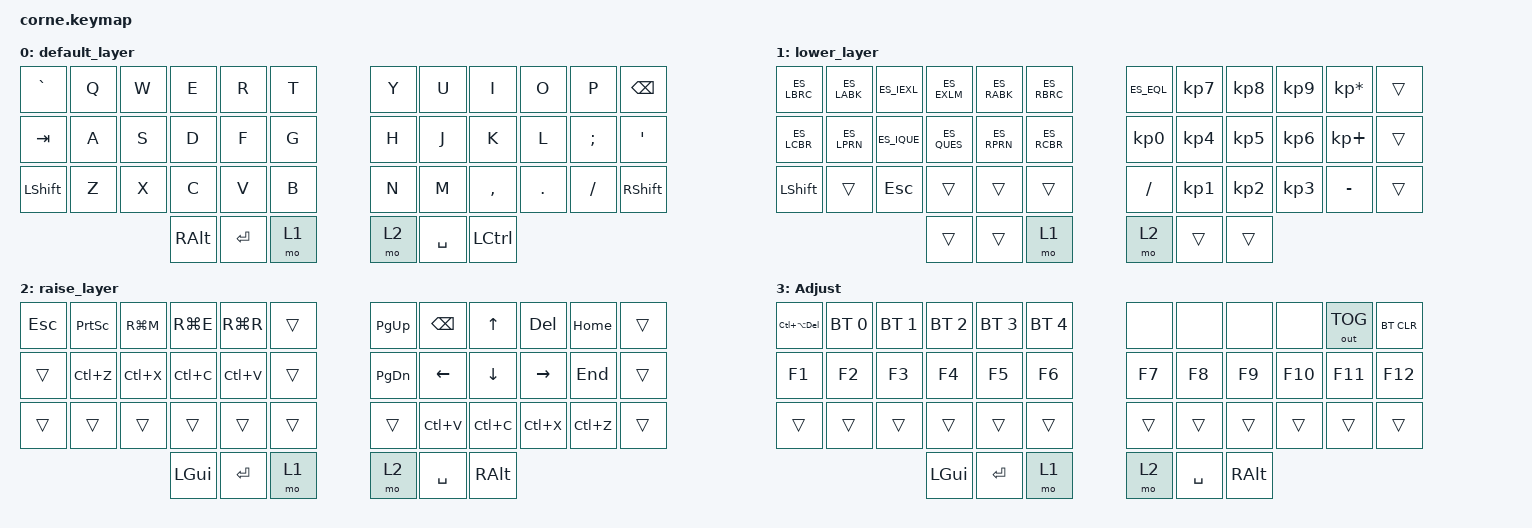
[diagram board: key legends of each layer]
/*
 * Copyright (c) 2020 The ZMK Contributors
 *
 * SPDX-License-Identifier: MIT
 */

#include "keymap_spanish.h"
#include <behaviors.dtsi>
#include <dt-bindings/zmk/bt.h>
#include <dt-bindings/zmk/keys.h>
#include <dt-bindings/zmk/outputs.h>

/ {
    combos {
        compatible = "zmk,combos";

        Caps {
            bindings = <&kp CAPSLOCK>;
            key-positions = <24 35>;
        };

        Soft_off {
            bindings = <&soft_off>;
            key-positions = <11 0 12 23>;
        };
    };

    keymap {
        compatible = "zmk,keymap";

        default_layer {
            // -----------------------------------------------------------------------------------------
            // |  `   |  Q  |  W  |  E  |  R  |  T  |   |  Y  |  U   |  I  |  O  |  P  | BKSP |
            // | TAB  |  A  |  S  |  D  |  F  |  G  |   |  H  |  J   |  K  |  L  |  ;  |  '   |
            // | SHFT |  Z  |  X  |  C  |  V  |  B  |   |  N  |  M   |  ,  |  .  |  /  | SHFT |
            //                    | RALT| ENT | LWR |   | RSE | SPC  | CRTL|

            bindings = <
&kp GRAVE  &kp Q  &kp W  &kp E     &kp R    &kp T    &kp Y  &kp U      &kp I      &kp O    &kp P     &kp BSPC
&kp TAB    &kp A  &kp S  &kp D     &kp F    &kp G    &kp H  &kp J      &kp K      &kp L    &kp SEMI  &kp SQT
&kp LSHFT  &kp Z  &kp X  &kp C     &kp V    &kp B    &kp N  &kp M      &kp COMMA  &kp DOT  &kp FSLH  &kp RSHFT
                         &kp RALT  &kp RET  &mo 1    &mo 2  &kp SPACE  &kp LCTRL
            >;
        };

        lower_layer {
            // -----------------------------------------------------------------------------------------
            // |  [   |  <  |  ¡  |  !  |  >  |  ]  |   |  =  |  7  |  8  |  9  |  *  | BKSP |
            // |  {   |  (  |  ¿  |  ?  |  )  |  }  |   |  0  |  4  |  5  |  6  |  +  |      |
            // | SHFT |     |     | ESC |     |     |   |  /  |  1  |  2  |  3  |  -  |      |
            //                    | RALT| ENT | LWR |   | RSE | SPC  | CRTL|

            bindings = <
&kp ES_LBRC  &kp ES_LABK  &kp ES_IEXL  &kp ES_EXLM  &kp ES_RABK  &kp ES_RBRC    &kp ES_EQL       &kp KP_NUMBER_7  &kp KP_NUMBER_8  &kp KP_NUMBER_9  &kp KP_ASTERISK  &trans
&kp ES_LCBR  &kp ES_LPRN  &kp ES_IQUE  &kp ES_QUES  &kp ES_RPRN  &kp ES_RCBR    &kp KP_NUMBER_0  &kp KP_NUMBER_4  &kp KP_NUMBER_5  &kp KP_NUMBER_6  &kp KP_PLUS      &trans
&kp LSHFT    &trans       &kp ESC      &trans       &trans       &trans         &kp FSLH         &kp KP_NUMBER_1  &kp KP_NUMBER_2  &kp KP_NUMBER_3  &kp MINUS        &trans
                                       &trans       &trans       &mo 1          &mo 2            &trans           &trans
            >;
        };

        raise_layer {
            // -----------------------------------------------------------------------------------------
            // | ESC   | PRTSC |  WIN+M  | WIN+E | WIN+R   |   | |     | PGUP |BCKSPC |   ^   |  DEL |  HOME |       |
            // |       | UNDO  |   CUT   | COPY  | PASTE   |   | |     | PGDN |   <-  |   v   |  ->  |  END  |       |
            // |       |       |         |       |         |   | |     |      | PASTE | COPY  | CUT  |  UNDO |       |
            //                 |  RALT   |  ENT  |   LWR   |           | RSE  | SPC   | CRTL  |

            bindings = <
&kp ESCAPE  &kp PSCRN  &kp RG(M)  &kp RG(E)  &kp RG(R)  &trans    &kp PG_UP  &kp BACKSPACE  &kp UP     &kp DEL    &kp HOME   &trans
&trans      &kp LC(Z)  &kp LC(X)  &kp LC(C)  &kp LC(V)  &trans    &kp PG_DN  &kp LEFT       &kp DOWN   &kp RIGHT  &kp END    &trans
&trans      &trans     &trans     &trans     &trans     &trans    &trans     &kp LC(V)      &kp LC(C)  &kp LC(X)  &kp LC(Z)  &trans
                                  &kp LGUI   &kp RET    &mo 1     &mo 2      &kp SPACE      &kp RALT
            >;
        };

        Adjust {
            // -----------------------------------------------------------------------------------------
            // | CAPSUP | BT1  | BT2 | BT3 | BT4 | BT5 |   | OUT_TOG |      |     |     |     | BTCLR |   
            // |  F1    |  F2  |  F3 | F4  |  F5 |  F6 |   |    F7   |  F8  |  F9 | F10 | F11 |  F12  | //&out OUT_TOG
            // |        |      |     |     |     |     |   |         |      |     |     |     |       |
            //                       | RALT| ENT | LWR |   | RSE | SPC  | CRTL|

            bindings = <
&kp LC(LA(DEL))  &bt BT_SEL 0  &bt BT_SEL 1  &bt BT_SEL 2  &bt BT_SEL 3  &bt BT_SEL 4    &none   &none      &none     &none    &out OUT_TOG  &bt BT_CLR
&kp F1           &kp F2        &kp F3        &kp F4        &kp F5        &kp F6          &kp F7  &kp F8     &kp F9    &kp F10  &kp F11       &kp F12
&trans           &trans        &trans        &trans        &trans        &trans          &trans  &trans     &trans    &trans   &trans        &trans
                                             &kp LGUI      &kp RET       &mo 1           &mo 2   &kp SPACE  &kp RALT
            >;
        };
    };

    conditional_layers {
        compatible = "zmk,conditional-layers";

        Adjust_layer {
            if-layers = <1 2>;
            then-layer = <3>;
        };
    };
};
